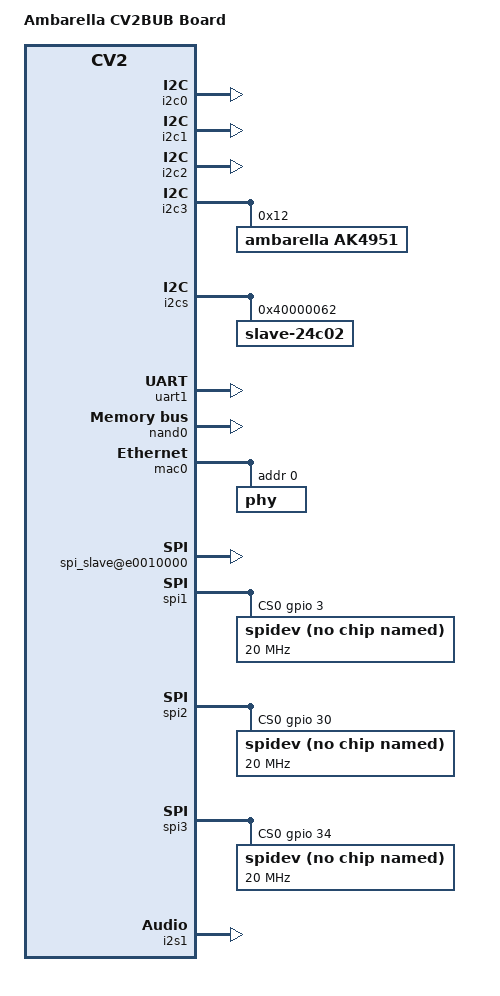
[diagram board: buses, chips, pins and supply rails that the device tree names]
/*
 * board level device tree source
 */

/dts-v1/;

/include/ "cv2.dtsi"

/ {
	model = "Ambarella CV2BUB Board";
	compatible = "ambarella,cv2bub", "ambarella,cv2";

	chosen {
		stdout-path = &uart0;
		#address-cells = <1>;
		#size-cells = <1>;
		xen,xen-bootargs = "dom0_mem=256M bootscrub=0 dom0_max_vcpus=1 dom0_vcpus_pin timer_slop=0";
		module@0 {
			 compatible = "xen,linux-zimage", "xen,multiboot-module";
			 reg = <0x0 0x0>;
			 bootargs = "root=/dev/mtdblock21 rootfstype=squashfs rdinit=/sbin/init console=hvc0 earlycon=xenboot quiet";
		};

		domu_tx {
			#address-cells = <1>;
			#size-cells = <1>;
			compatible = "xen,domain";
			memory = <0x0 0x0>;
			cpus = <1>;

			module@0 {
				compatible = "multiboot,kernel", "multiboot,module";
				reg = <0x0 0x0>;
			};
		};
	};

	n_apb@e4000000 {
		i2c0: i2c@e4008000 {
			status = "ok";
		};

		i2c1: i2c@e4009000 {
			status = "ok";
		};

		i2c2: i2c@e400a000 {
			status = "ok";
		};

		i2c3: i2c@e400b000 {
			status = "ok";
			ak4951: codec@12 {
				compatible = "ambarella,ak4951";
				#sound-dai-cells = <0>;
				reg = <0x12>;
			};
		};

		i2cs: i2cs@e4007000 {
			status = "ok";
			slave-24c02@62{
				compatible = "slave-24c02";
				reg = <0x40000062>;
			};
		};
	};

	n_ahb@e0000000 {
		uart1: uart@e0016000 {
			status = "ok";
		};

		nand0: nand@e0002000 {
			status = "ok";
		};

		sdmmc0: sdmmc0@e0004000 {
			pwr-gpios = <&gpio 109 0x1>;
			v18-gpios = <&gpio 162 0x1>;
		};

		mac0: ethernet@e000e000 {
			amb,tx-clk-invert;
			phy@0 {
				reg = <0>;
			};
		};

		spi_slave@e0010000 {
			/delete-property/pinctrl-0;
			status = "ok";
		};

		spi1: spi@e0012000 {
			status = "ok";
			cs-gpios = <&gpio 3 0>;

			spidev@0 {
					compatible = "ambarella,spidev";
					spi-max-frequency = <20000000>;
					reg = <0>;
			};
		};

		spi2: spi@e0013000 {
			status = "ok";
			cs-gpios = <&gpio 30 0>;

			spidev@0 {
					compatible = "ambarella,spidev";
					spi-max-frequency = <20000000>;
					reg = <0>;
			};
		};

		spi3: spi@e0014000 {
			status = "ok";
			cs-gpios = <&gpio 34 0>;

			spidev@0 {
					compatible = "ambarella,spidev";
					spi-max-frequency = <20000000>;
					reg = <0>;
			};
		};

		i2s0: i2s@e000d000 {
			status = "disabled";
		};

		i2s1: i2s@e001d000 {
			status = "ok";
		};
	};

	s_apb:s_apb@ec000000 {
		wdt@ec002000 {
			status = "ok";
		};
	};

	rct@ed080000 {
		usbphy: usbphy@ed080050 {
			pinctrl-names = "default";
			pinctrl-0 = <&usb_host0_pins_a>;
		};
	};


	sound {
		compatible = "ambarella,audio-board";
		simple-audio-card,name = "ak4951 @ AMBEVK";
		simple-audio-card,mclk-fs = <256>;
		simple-audio-card,widgets =
		"Speaker", "Speaker",
		"Headphone", "HP Jack",
		"Line", "Line In",
		"Line", "Line Out",
		"Microphone", "Mic Internal",
		"Microphone", "Mic External";
		simple-audio-card,routing =
		"LIN2", "Mic Bias",
		"RIN2", "Mic Bias",
		"Mic Bias", "Mic Internal",
		"LIN3", "Line In",
		"RIN3", "Line In",
		"Line Out", "SPKLO",
		"HP Jack", "HPL",
		"HP Jack", "HPR",
		"Speaker", "SPKLO";

		simple-audio-card,dai-link@0 {
			format = "i2s";

			cpu {
				sound-dai = <&i2s1>;
			};

			codec {
				sound-dai = <&ak4951>;
			};
		};
	};
};
